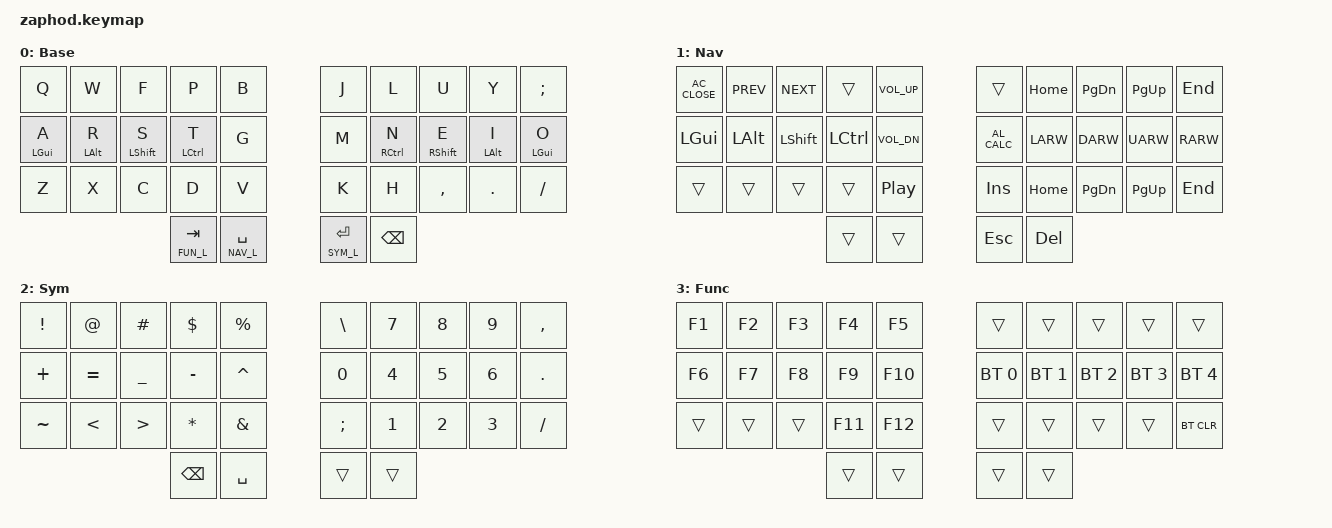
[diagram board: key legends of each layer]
/*
 * Copyright (c) 2021 Pete Johanson
 *
 * SPDX-License-Identifier: MIT
 */

#include <behaviors.dtsi>
#include <dt-bindings/zmk/keys.h>
#include <dt-bindings/zmk/bt.h>
#include <dt-bindings/zmk/outputs.h>

#define DEF_L 0
#define NAV_L 1
#define SYM_L 2
#define FUN_L 3

// Using layer taps on thumbs, having quick tap as well helps w/ repeating space/backspace
&lt { quick_tap_ms = <200>; };

/ {
    combos {
        compatible = "zmk,combos";

        combo_lbkt {
	        timeout-ms = <50>;
            key-positions = <10 11>;
            layers = <DEF_L>;
            bindings = <&kp LBKT>;
        };

        combo_lpar {
	        timeout-ms = <50>;
            key-positions = <11 12>;
            layers = <DEF_L>;
            bindings = <&kp LPAR>;
        };

        combo_lbrc {
	        timeout-ms = <50>;
            key-positions = <12 13>;
            layers = <DEF_L>;
            bindings = <&kp LBRC>;
        };

        combo_sqt {
            timeout-ms = <50>;
            key-positions = <12 17>;
            layers = <DEF_L>;
            bindings = <&kp SQT>;
        };

        combo_dqt {
            timeout-ms = <50>;
            key-positions = <13 16>;
            layers = <DEF_L>;
            bindings = <&kp DQT>;
        };

        combo_rbrc {
	        timeout-ms = <50>;
            key-positions = <16 17>;
            layers = <DEF_L>;
            bindings = <&kp RBRC>;
        };

        combo_rpar {
	        timeout-ms = <50>;
            key-positions = <17 18>;
            layers = <DEF_L>;
            bindings = <&kp RPAR>;
        };

        combo_rbkt {
	        timeout-ms = <50>;
            key-positions = <18 19>;
            layers = <DEF_L>;
            bindings = <&kp RBKT>;
        };

        combo_tilde {
	        timeout-ms = <50>;
            key-positions = <21 22>;
            layers = <DEF_L>;
            bindings = <&kp TILDE>;
        };

        combo_grave {
	        timeout-ms = <50>;
            key-positions = <22 23>;
            layers = <DEF_L>;
            bindings = <&kp GRAVE>;
        };

        combo_bslh {
	        timeout-ms = <50>;
            key-positions = <26 27>;
            layers = <DEF_L>;
            bindings = <&kp BSLH>;
        };

        combo_pipe {
	        timeout-ms = <50>;
            key-positions = <27 28>;
            layers = <DEF_L>;
            bindings = <&kp PIPE>;
        };

    };

    behaviors {
        hm: homerow_mods {
            compatible = "zmk,behavior-hold-tap";
            label = "homerow mods";
            #binding-cells = <2>;
            tapping_term_ms = <200>;
            flavor = "tap-preferred";
            bindings = <&kp>, <&kp>;
        };
    };

    keymap {
        compatible = "zmk,keymap";

        default_layer {
            label = "Base";
            bindings = <
                &kp Q           &kp W           &kp F           &kp P           &kp B           &kp J           &kp L           &kp U           &kp Y           &kp SEMI                            
                &hm LGUI A      &hm LALT R      &hm LSHFT S     &hm LCTRL T     &kp G           &kp M           &hm RCTRL N     &hm RSHFT E     &hm LALT I      &hm LGUI O
                &kp Z           &kp X           &kp C           &kp D           &kp V           &kp K           &kp H           &kp COMMA       &kp DOT         &kp FSLH
                                                                &lt FUN_L TAB   &lt NAV_L SPACE &lt SYM_L RET   &kp BKSP
            >;
        };

        nav_layer {
            label = "Nav";
            bindings = <
                &kp C_AC_CLOSE  &kp C_PREV      &kp C_NEXT      &trans          &kp C_VOL_UP    &trans          &kp HOME        &kp PG_DN       &kp PG_UP       &kp END
                &kp LGUI        &kp LALT        &kp LSHFT       &kp LCTRL       &kp C_VOL_DN    &kp C_AL_CALC   &kp LARW        &kp DARW        &kp UARW        &kp RARW
                &trans          &trans          &trans          &trans          &kp C_PP        &kp INS         &kp HOME        &kp PG_DN       &kp PG_UP       &kp END
                                                                &trans          &trans          &kp ESC         &kp DEL
            >;
        };

        sym_layer {
            label = "Sym";
            bindings = <
                &kp EXCL        &kp AT          &kp HASH        &kp DOLLAR      &kp PERCENT     &kp BACKSLASH   &kp N7          &kp N8          &kp N9          &kp COMMA
                &kp PLUS        &kp EQUAL       &kp UNDERSCORE  &kp MINUS       &kp CARET       &kp N0          &kp N4          &kp N5          &kp N6          &kp DOT
                &kp TILDE       &kp LT          &kp GT          &kp STAR        &kp AMPS        &kp SEMICOLON   &kp N1          &kp N2          &kp N3          &kp SLASH
                                                                &kp BKSP        &kp SPACE       &trans          &trans
            >;
        };

        func_layer {
            label = "Func";
            bindings = <
                &kp F1          &kp F2          &kp F3          &kp F4          &kp F5          &trans          &trans          &trans          &trans          &trans
                &kp F6          &kp F7          &kp F8          &kp F9          &kp F10         &bt BT_SEL 0    &bt BT_SEL 1    &bt BT_SEL 2    &bt BT_SEL 3    &bt BT_SEL 4
                &trans          &trans          &trans          &kp F11         &kp F12         &trans          &trans          &trans          &trans          &bt BT_CLR
                                                                &trans          &trans          &trans          &trans
            >;
        };

    };
};

